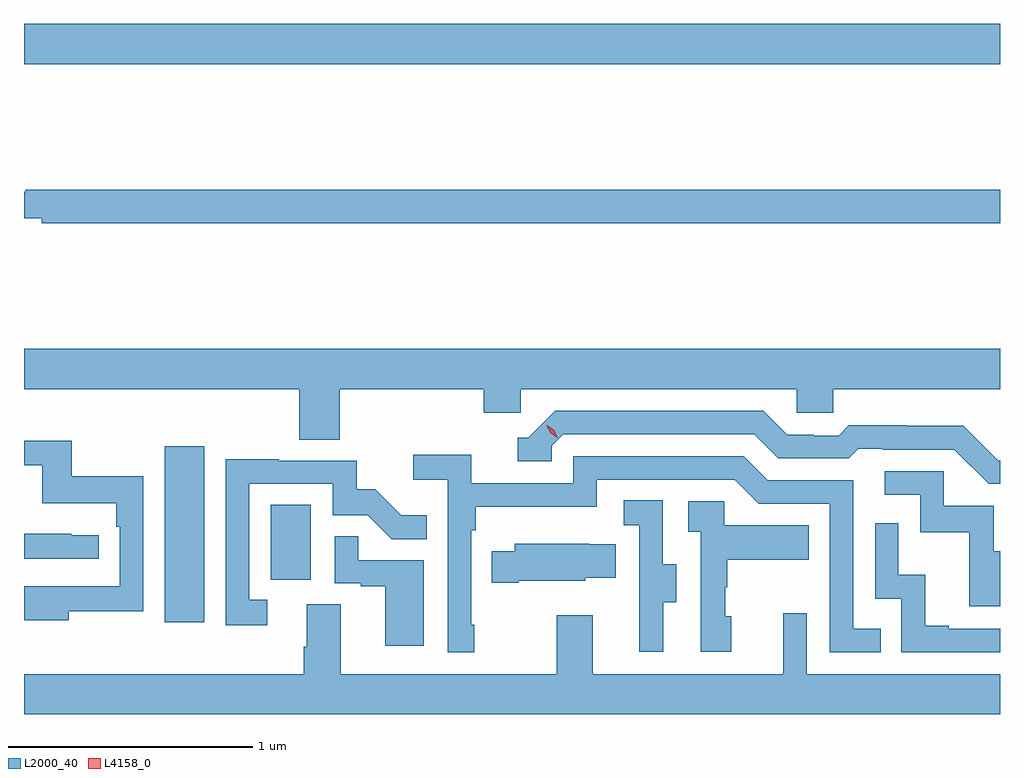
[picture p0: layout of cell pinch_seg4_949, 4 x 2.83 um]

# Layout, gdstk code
import gdstk
lib = gdstk.Library(unit=1e-6, precision=1e-09)
def R(c, l, rs):  # rectangles x0, y0, x1, y1
    for r in rs: c.add(gdstk.rectangle(r[:2], r[2:], *l))
def P(c, l, *ps):  # polygons
    for p in ps: c.add(gdstk.Polygon(p, *l))
L2000_40 = (2000, 40)
L4158_0 = (4158, 0)

pinch_seg4_949 = lib.new_cell('pinch_seg4_949')
R(pinch_seg4_949, L2000_40, [(885.053,774.552,885.214,775.273), (885.488,774.726,885.652,775.033), (884.476,776.84,888.476,777.004)])
P(pinch_seg4_949, L2000_40, [(888.476,776.324),(884.483,776.324),(884.483,776.317),(884.476,776.317),(884.476,776.207),(884.548,776.207),(884.548,776.188),(888.476,776.188)],
  [(885.77,775.508),(886.361,775.508),(886.361,775.41),(886.512,775.41),(886.512,775.508),(887.643,775.508),(887.643,775.41),(887.793,775.41),(887.793,775.508),(888.476,775.508),(888.476,775.672),(884.476,775.672),(884.476,775.508),(885.605,775.508),(885.605,775.3),(885.77,775.3)],
  [(888.476,775.215),(888.468,775.215),(888.326,775.357),(888.09,775.357),(888.09,775.36),(887.857,775.36),(887.815,775.317),(887.712,775.317),(887.712,775.32),(887.605,775.32),(887.506,775.419),(886.653,775.419),(886.542,775.308),(886.499,775.308),(886.499,775.212),(886.638,775.212),(886.638,775.275),(886.686,775.323),(887.469,775.323),(887.568,775.224),(887.857,775.224),(887.896,775.263),(887.995,775.263),(887.995,775.26),(888.288,775.26),(888.429,775.119),(888.476,775.119)],
  [(884.659,774.598),(884.964,774.598),(884.964,775.15),(884.671,775.15),(884.671,775.296),(884.476,775.296),(884.476,775.195),(884.55,775.195),(884.55,775.04),(884.855,775.04),(884.855,774.944),(884.868,774.944),(884.868,774.699),(884.555,774.699),(884.555,774.7),(884.476,774.7),(884.476,774.56),(884.659,774.56)],
  [(886.321,774.541),(886.308,774.541),(886.308,774.929),(886.328,774.929),(886.328,775.025),(886.824,775.025),(886.824,775.137),(887.388,775.137),(887.487,775.038),(887.778,775.038),(887.778,774.429),(887.987,774.429),(887.987,774.525),(887.874,774.525),(887.874,775.134),(887.524,775.134),(887.425,775.233),(886.728,775.233),(886.728,775.122),(886.31,775.122),(886.31,775.238),(886.071,775.238),(886.071,775.136),(886.212,775.136),(886.212,774.429),(886.321,774.429)],
  [(885.472,774.645),(885.399,774.645),(885.399,775.119),(885.741,775.119),(885.741,774.99),(885.885,774.99),(885.983,774.892),(886.127,774.892),(886.127,774.991),(886.023,774.991),(885.916,775.098),(885.84,775.098),(885.84,775.215),(885.521,775.215),(885.521,775.22),(885.303,775.22),(885.303,774.54),(885.472,774.54)],
  [(888.476,774.843),(888.451,774.843),(888.451,775.029),(888.246,775.029),(888.246,775.17),(888.003,775.17),(888.003,775.074),(888.15,775.074),(888.15,774.921),(888.349,774.921),(888.349,774.618),(888.476,774.618)],
  [(887.095,774.634),(887.149,774.634),(887.149,774.789),(887.094,774.789),(887.094,775.052),(886.935,775.052),(886.935,774.949),(886.998,774.949),(886.998,774.645),(886.997,774.645),(886.997,774.432),(887.095,774.432)],
  [(887.374,774.576),(887.349,774.576),(887.349,774.695),(887.359,774.695),(887.359,774.809),(887.693,774.809),(887.693,774.949),(887.346,774.949),(887.346,775.047),(887.199,775.047),(887.199,774.923),(887.25,774.923),(887.25,774.432),(887.374,774.432)],
  [(888.476,774.525),(888.265,774.525),(888.265,774.538),(888.17,774.538),(888.17,774.746),(888.06,774.746),(888.06,774.958),(887.964,774.958),(887.964,774.648),(888.072,774.648),(888.072,774.429),(888.476,774.429)],
  [(884.782,774.909),(884.669,774.909),(884.669,774.914),(884.476,774.914),(884.476,774.813),(884.782,774.813)],
  [(886.114,774.807),(885.845,774.807),(885.845,774.905),(885.75,774.905),(885.75,774.711),(885.857,774.711),(885.857,774.699),(885.956,774.699),(885.956,774.456),(886.114,774.456)],
  [(886.504,774.722),(886.776,774.722),(886.776,774.734),(886.901,774.734),(886.901,774.871),(886.793,774.871),(886.793,774.874),(886.487,774.874),(886.487,774.844),(886.393,774.844),(886.393,774.715),(886.504,774.715)],
  [(888.476,774.34),(887.685,774.34),(887.685,774.589),(887.588,774.589),(887.588,774.34),(886.807,774.34),(886.807,774.58),(886.66,774.58),(886.66,774.34),(885.775,774.34),(885.775,774.626),(885.635,774.626),(885.635,774.452),(885.623,774.452),(885.623,774.34),(884.476,774.34),(884.476,774.176),(888.476,774.176)])
P(pinch_seg4_949, L4158_0, [(886.662,775.309),(886.632,775.329),(886.616,775.362),(886.616,775.362),(886.616,775.362),(886.647,775.342),(886.662,775.31),(886.662,775.309)])

lib.write_gds('pinch_seg4_949.gds')
